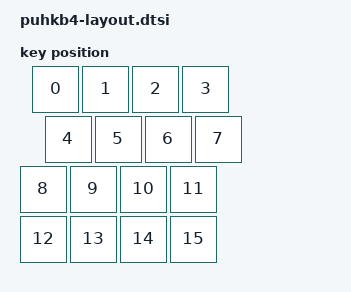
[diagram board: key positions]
/ {
    physical_layout0: physical_layout_0 {
        compatible = "zmk,physical-layout";
        display-name = "NumPad";
        kscan = <&kscan0>;
        transform = <&matrix_transform0>;

        keys  //                     w   h    x    y     rot    rx    ry
            = <&key_physical_attrs 100 100   25    0       0     0     0>
            , <&key_physical_attrs 100 100  125    0       0     0     0>
            , <&key_physical_attrs 100 100  225    0       0     0     0>
            , <&key_physical_attrs 100 100  325    0       0     0     0>
            , <&key_physical_attrs 100 100   50  100       0     0     0>
            , <&key_physical_attrs 100 100  150  100       0     0     0>
            , <&key_physical_attrs 100 100  250  100       0     0     0>
            , <&key_physical_attrs 100 100  350  100       0     0     0>
            , <&key_physical_attrs 100 100    0  200       0     0     0>
            , <&key_physical_attrs 100 100  100  200       0     0     0>
            , <&key_physical_attrs 100 100  200  200       0     0     0>
            , <&key_physical_attrs 100 100  300  200       0     0     0>
            , <&key_physical_attrs 100 100    0  300       0     0     0>
            , <&key_physical_attrs 100 100  100  300       0     0     0>
            , <&key_physical_attrs 100 100  200  300       0     0     0>
            , <&key_physical_attrs 100 100  300  300       0     0     0>
            ;
    };

    position_map {
        compatible = "zmk,physical-layout-position-map";

        complete;

        physical_layout0 {
            physical-layout = <&physical_layout0>;
            positions = <>;
        };
    };
};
